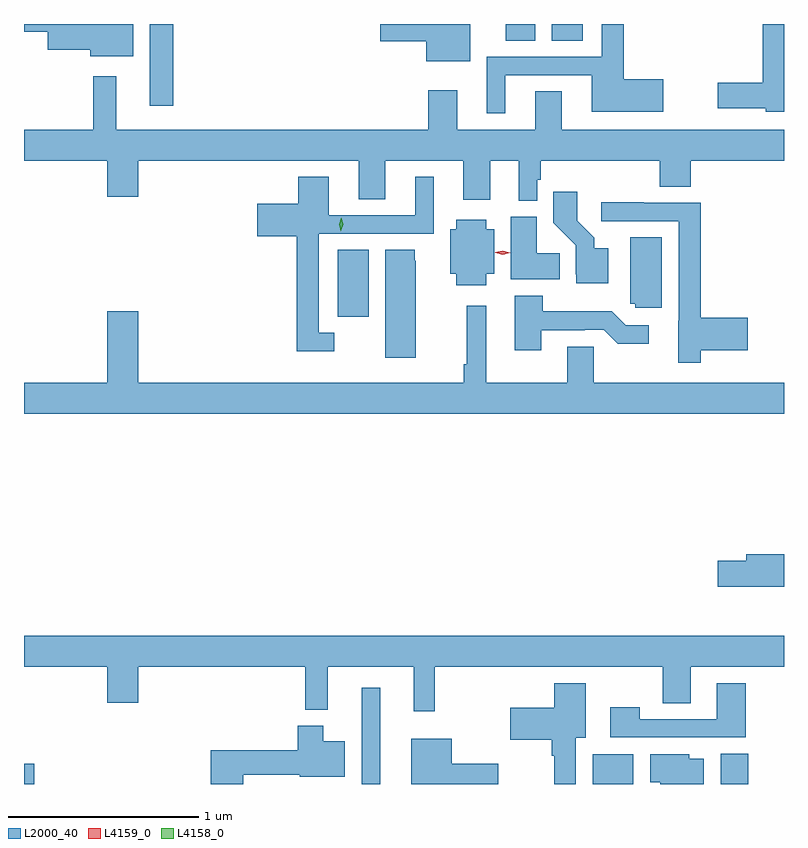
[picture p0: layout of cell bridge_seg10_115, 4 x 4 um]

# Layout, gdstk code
import gdstk
lib = gdstk.Library(unit=1e-6, precision=1e-09)
def R(c, l, rs):  # rectangles x0, y0, x1, y1
    for r in rs: c.add(gdstk.rectangle(r[:2], r[2:], *l))
def P(c, l, *ps):  # polygons
    for p in ps: c.add(gdstk.Polygon(p, *l))
L2000_40 = (2000, 40)
L4158_0 = (4158, 0)
L4159_0 = (4159, 0)

bridge_seg10_115 = lib.new_cell('bridge_seg10_115')
R(bridge_seg10_115, L2000_40, [(404.33,1285.048,404.383,1285.154), (406.107,1285.048,406.204,1285.555), (407.324,1285.048,407.536,1285.204), (407.996,1285.048,408.143,1285.208), (405.98,1287.507,406.144,1287.86), (404.993,1288.617,405.115,1289.048), (406.865,1288.96,407.02,1289.048), (407.108,1288.96,407.272,1289.048)])
P(bridge_seg10_115, L2000_40, [(404.905,1289.048),(404.33,1289.048),(404.33,1289.008),(404.456,1289.008),(404.456,1288.913),(404.678,1288.913),(404.678,1288.877),(404.905,1288.877)],
  [(406.864,1288.779),(407.318,1288.779),(407.318,1288.586),(407.695,1288.586),(407.695,1288.757),(407.486,1288.757),(407.486,1289.048),(407.37,1289.048),(407.37,1288.875),(406.766,1288.875),(406.766,1288.578),(406.864,1288.578)],
  [(408.33,1289.048),(408.218,1289.048),(408.218,1288.739),(407.982,1288.739),(407.982,1288.604),(408.234,1288.604),(408.234,1288.586),(408.33,1288.586)],
  [(406.678,1289.048),(406.206,1289.048),(406.206,1288.957),(406.448,1288.957),(406.448,1288.853),(406.678,1288.853)],
  [(407.021,1288.492),(406.609,1288.492),(406.609,1288.699),(406.457,1288.699),(406.457,1288.492),(404.815,1288.492),(404.815,1288.774),(404.694,1288.774),(404.694,1288.492),(404.33,1288.492),(404.33,1288.328),(404.768,1288.328),(404.768,1288.14),(404.932,1288.14),(404.932,1288.328),(406.091,1288.328),(406.091,1288.126),(406.231,1288.126),(406.231,1288.328),(406.643,1288.328),(406.643,1288.122),(406.783,1288.122),(406.783,1288.328),(406.934,1288.328),(406.934,1288.118),(407.031,1288.118),(407.031,1288.227),(407.051,1288.227),(407.051,1288.328),(407.675,1288.328),(407.675,1288.192),(407.84,1288.192),(407.84,1288.328),(408.33,1288.328),(408.33,1288.492),(407.161,1288.492),(407.161,1288.694),(407.021,1288.694)],
  [(405.964,1287.423),(405.882,1287.423),(405.882,1287.945),(406.486,1287.945),(406.486,1288.243),(406.388,1288.243),(406.388,1288.041),(405.934,1288.041),(405.934,1288.243),(405.773,1288.243),(405.773,1288.102),(405.558,1288.102),(405.558,1287.932),(405.766,1287.932),(405.766,1287.326),(405.964,1287.326)],
  [(407.404,1287.868),(407.332,1287.868),(407.332,1287.923),(407.242,1288.013),(407.242,1288.165),(407.116,1288.165),(407.116,1288.002),(407.235,1287.883),(407.235,1287.732),(407.237,1287.732),(407.237,1287.683),(407.404,1287.683)],
  [(407.891,1287.332),(408.139,1287.332),(408.139,1287.503),(407.891,1287.503),(407.891,1288.107),(407.591,1288.107),(407.591,1288.11),(407.367,1288.11),(407.367,1288.011),(407.775,1288.011),(407.775,1287.486),(407.774,1287.486),(407.774,1287.264),(407.891,1287.264)],
  [(407.15,1287.842),(407.029,1287.842),(407.029,1288.033),(406.892,1288.033),(406.892,1287.704),(407.15,1287.704)],
  [(406.762,1287.734),(406.804,1287.734),(406.804,1287.967),(406.762,1287.967),(406.762,1288.018),(406.604,1288.018),(406.604,1287.967),(406.574,1287.967),(406.574,1287.734),(406.604,1287.734),(406.604,1287.674),(406.762,1287.674)],
  [(407.686,1287.925),(407.522,1287.925),(407.522,1287.576),(407.547,1287.576),(407.547,1287.555),(407.686,1287.555)],
  [(406.393,1287.801),(406.387,1287.801),(406.387,1287.86),(406.232,1287.86),(406.232,1287.291),(406.393,1287.291)],
  [(407.053,1287.435),(407.282,1287.435),(407.282,1287.438),(407.382,1287.438),(407.455,1287.365),(407.617,1287.365),(407.617,1287.462),(407.496,1287.462),(407.423,1287.535),(407.061,1287.535),(407.061,1287.619),(406.913,1287.619),(406.913,1287.33),(407.053,1287.33)],
  [(408.33,1287.16),(407.328,1287.16),(407.328,1287.35),(407.189,1287.35),(407.189,1287.16),(406.762,1287.16),(406.762,1287.565),(406.66,1287.565),(406.66,1287.256),(406.645,1287.256),(406.645,1287.16),(404.932,1287.16),(404.932,1287.535),(404.768,1287.535),(404.768,1287.16),(404.33,1287.16),(404.33,1286.996),(408.33,1286.996)],
  [(408.33,1286.258),(408.131,1286.258),(408.131,1286.222),(407.982,1286.222),(407.982,1286.087),(408.33,1286.087)],
  [(406.492,1285.664),(407.692,1285.664),(407.692,1285.474),(407.839,1285.474),(407.839,1285.664),(408.33,1285.664),(408.33,1285.828),(404.33,1285.828),(404.33,1285.664),(404.768,1285.664),(404.768,1285.476),(404.932,1285.476),(404.932,1285.664),(405.811,1285.664),(405.811,1285.439),(405.929,1285.439),(405.929,1285.664),(406.382,1285.664),(406.382,1285.431),(406.492,1285.431)],
  [(408.128,1285.579),(407.975,1285.579),(407.975,1285.389),(407.571,1285.389),(407.571,1285.453),(407.415,1285.453),(407.415,1285.293),(408.128,1285.293)],
  [(407.233,1285.292),(407.287,1285.292),(407.287,1285.579),(407.12,1285.579),(407.12,1285.45),(406.89,1285.45),(406.89,1285.28),(407.108,1285.28),(407.108,1285.196),(407.12,1285.196),(407.12,1285.048),(407.233,1285.048)],
  [(405.484,1285.096),(405.782,1285.096),(405.782,1285.085),(406.018,1285.085),(406.018,1285.273),(405.904,1285.273),(405.904,1285.354),(405.77,1285.354),(405.77,1285.225),(405.314,1285.225),(405.314,1285.048),(405.484,1285.048)],
  [(406.825,1285.154),(406.582,1285.154),(406.582,1285.285),(406.367,1285.285),(406.367,1285.048),(406.825,1285.048)],
  [(407.908,1285.18),(407.832,1285.18),(407.832,1285.204),(407.627,1285.204),(407.627,1285.058),(407.678,1285.058),(407.678,1285.048),(407.908,1285.048)])
P(bridge_seg10_115, L4158_0, [(405.998,1287.957),(405.998,1287.958),(405.99,1287.994),(406.001,1288.029),(406.001,1288.029),(406.001,1288.029),(406.009,1287.993),(405.998,1287.958)])
P(bridge_seg10_115, L4159_0, [(406.849,1287.834),(406.81,1287.845),(406.81,1287.845),(406.81,1287.846),(406.85,1287.854),(406.889,1287.844),(406.889,1287.844),(406.889,1287.843)])

lib.write_gds('bridge_seg10_115.gds')
